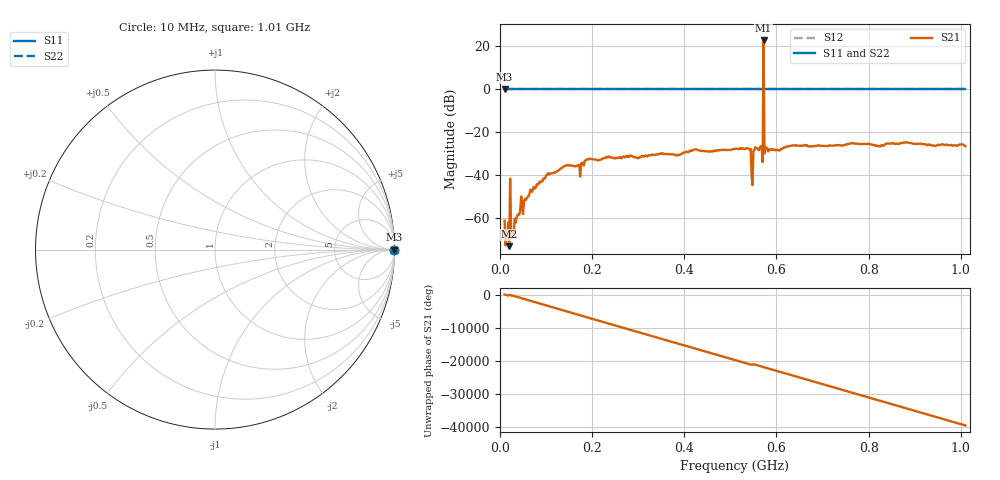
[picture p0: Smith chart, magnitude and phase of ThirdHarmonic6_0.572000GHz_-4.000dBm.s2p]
! 8/15/2025 6:22:42 PM
! C:\ANRITSUVNA\TEMP\TEMP.S2P
! CHANNEL.1
! TR.MEASUREMENT
! RAW.DATA
! RF.CORRECTION.OFF
! AVERAGING.OFF
! IF.BANDWIDTH: 5KHZ
! SWEEPTYPE:  FREQ.SWEEP(Linear)
! Reference Plane Port Info
! PORT:  PORT1  PORT2
! DISTANCE:  0  m  0  m
! TIME:  0  s  0  s
! PHASE.OFFSET:  0  deg.  0  deg.
! LOSS:  0  dB  0  dB
! REF.LOSS:  0  dB  0  dB
! REF.FREQ:  0  Hz  0  Hz
! Power Info
! POWER:  -20  dBm  -20  dBm
! EFF.POWER:  -20  dBm  -20  dBm
! SOURCE.ATTEN:  0  dB  0  dB
! TEST.ATTEN:  0  dB  0  dB
# GHZ S RI R 50.0
! FREQ.GHZ  S11RE  S11IM  S21RE  S21IM  S12RE  S12IM  S22RE  S22IM
!; PortSelection: Port_12
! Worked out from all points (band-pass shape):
!   501 points, 10 MHz to 1.01 GHz, reference 50 ohm
!   highest |S21| = 22.79 dB at 572 MHz (marker M1); lowest = -73.1 dB at 20 MHz (marker M2)
!   |S21| within 3 dB of the highest: 571.8943 MHz to 572.1139 MHz (219.7 kHz wide, 0.0384 % of centre)
!   lowest |S11| = 0.0 dB at 10 MHz (marker M3)
!   |S11| at or under -10 dB: nowhere
!   |S22| runs from 0.0 to 0.0 dB; largest |S21 - S12| = 14
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0.01  1 0  -0.000742 0.000452  1 0  1 0
0.016  1 0  0.000189 -0.000315  1 0  1 0
0.02  1 0  0.000185 -0.00012  1 0  1 0
0.028  1 0  -0.000351 -5.69e-05  1 0  1 0
0.05  1 0  0.000647 -0.00106  1 0  1 0
0.104  1 0  0.00581 -0.00936  1 0  1 0
0.178  1 0  -0.0189 -0.00355  1 0  1 0
0.192  1 0  0.0218 -0.00766  1 0  1 0
0.344  1 0  0.0289 -0.00858  1 0  1 0
0.51  1 0  -0.0363 0.0192  1 0  1 0
0.54  1 0  0.0376 0.0166  1 0  1 0
0.544  1 0  -0.0284 -0.0295  1 0  1 0
0.548  1 0  -0.00582 -0.000491  1 0  1 0
0.554  1 0  -0.0442 -0.00459  1 0  1 0
0.566  1 0  0.0223 0.0418  1 0  1 0
0.568  1 0  0.0433 -0.0158  1 0  1 0
0.572  1 0  -7.555 11.53  1 0  1 0
0.576  1 0  0.0439 0.00912  1 0  1 0
0.578  1 0  0.0164 -0.0398  1 0  1 0
0.678  1 0  -0.0266 -0.038  1 0  1 0
0.844  1 0  0.0466 0.0289  1 0  1 0
1.01  1 0  -0.0474 -0.000659  1 0  1 0
